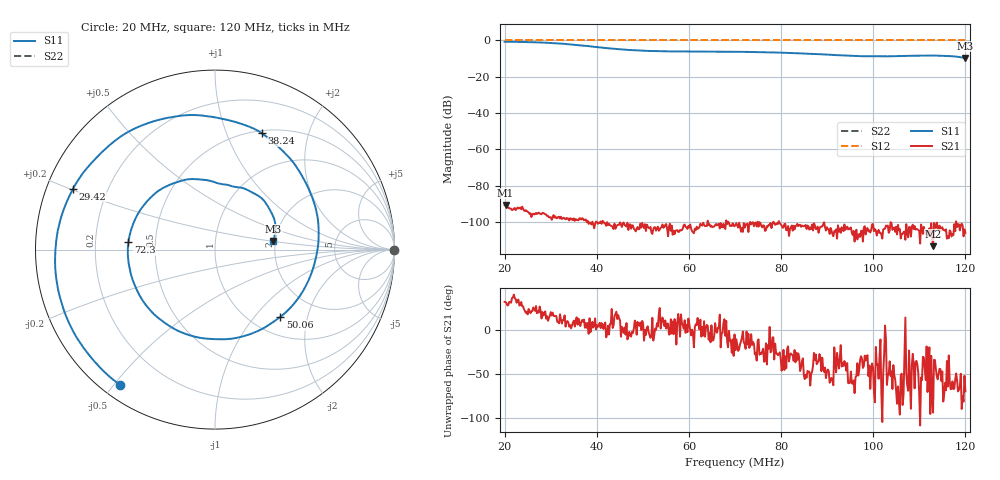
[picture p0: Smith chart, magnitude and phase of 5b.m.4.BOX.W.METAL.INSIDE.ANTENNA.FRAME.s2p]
! Anritsu VNA Master:  Model: MS2036C/10/77
! SN:  1601066
! /card0/usr/18may27.balun/5b.m4.s2p
! Existing Calibration Information:
! TYPE:  Current Settings,  Active Cal Settings
! TIME:  05/27/2018 04:11:18 PM,  05/27/2018 03:52:12 PM
! INTERNAL TEMP:  51.5 C,  52.5 C
! # POINTS:  500,  500
! START FREQ:  20.000 MHz,  20.000 MHz
! STOP FREQ:  120.000 MHz,  120.000 MHz
! SOURCE POWER:  High,  High
! IFBW:  50 Hz,  50 Hz
! AVG FACTOR:  1 ,  1
! REF PLANE 1:  0 mm,  0 mm
! REF PLANE 2:  0 mm,  0 mm
! CAL TYPE:  Full S11,  Full S11
! CAL METHOD:  SOLT,  SOLT
! CAL LINE TYPE:  Coax,  Coax
! DUT PORT 1:  K-Conn(M),  K-Conn(M)
! DUT PORT 2:  K-Conn(M),  K-Conn(M)
! CAL STATUS:  OK: Accuracy High,  --
# GHZ S DB R 50.0
! FREQ.GHZ  S11DB  S11A  S21DB  S21A  S12DB  S12A  S22DB  S22A
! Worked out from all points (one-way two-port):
!   500 points, 20 MHz to 120 MHz, reference 50 ohm
!   highest |S21| = -90.62 dB at 20.2 MHz (marker M1); lowest = -113.3 dB at 113 MHz (marker M2)
!   lowest |S11| = -9.7 dB at 120 MHz (marker M3), VSWR 1.98, Z = 97.4 + j10.4 ohm
!   |S11| at or under -10 dB: nowhere
!   |S22| runs from 0.0 to 0.0 dB; largest |S21 - S12| = 1
!   S11 on the Smith chart (normalised r, x): 20 MHz: 0.05, -0.52; 29.42 MHz: 0.08, +0.20; 38.24 MHz: 0.53, +1.34; 50.06 MHz: 1.33, -1.37; 72.3 MHz: 0.35, +0.04; 120 MHz: 1.95, +0.21
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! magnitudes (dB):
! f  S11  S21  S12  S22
! 20 MHz  -0.7  -90.8  0.0  0.0
! 20.2 MHz  -0.7  -90.6  0.0  0.0
! 25.61 MHz  -0.9  -95.2  0.0  0.0
! 29.42 MHz  -1.3  -96.6  0.0  0.0
! 32.83 MHz  -1.8  -97.6  0.0  0.0
! 36.83 MHz  -2.8  -97.9  0.0  0.0
! 38.24 MHz  -3.1  -101.1  0.0  0.0
! 41.44 MHz  -4.1  -99.8  0.0  0.0
! 45.25 MHz  -4.9  -101.6  0.0  0.0
! 50.06 MHz  -5.6  -102.0  0.0  0.0
! 53.47 MHz  -5.9  -104.9  0.0  0.0
! 55.87 MHz  -6.0  -100.9  0.0  0.0
! 70.1 MHz  -6.3  -101.5  0.0  0.0
! 72.3 MHz  -6.3  -101.3  0.0  0.0
! 81.72 MHz  -6.8  -107.7  0.0  0.0
! 86.73 MHz  -7.4  -101.4  0.0  0.0
! 97.15 MHz  -8.7  -108.3  0.0  0.0
! 103.4 MHz  -8.7  -106.0  0.0  0.0
! 106.8 MHz  -8.5  -105.3  0.0  0.0
! 113 MHz  -8.3  -113.3  0.0  0.0
! 117.2 MHz  -8.7  -106.7  0.0  0.0
! 120 MHz  -9.7  -106.0  0.0  0.0
